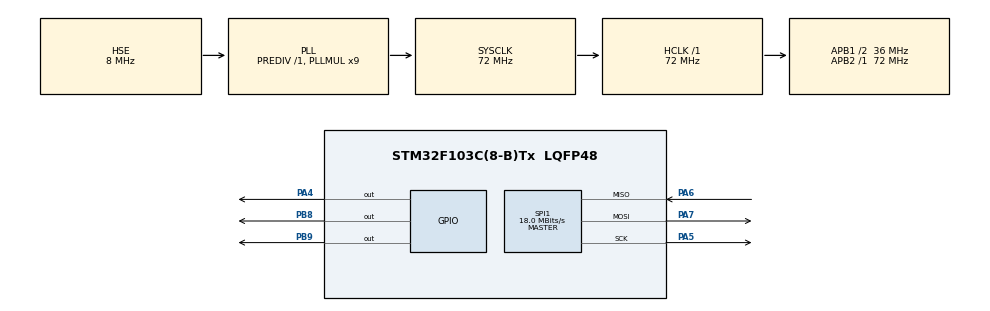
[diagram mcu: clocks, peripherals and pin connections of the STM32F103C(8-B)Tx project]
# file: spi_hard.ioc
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Mcu.Family=STM32F1
Mcu.Name=STM32F103C(8-B)Tx
Mcu.Package=LQFP48
NVIC.PriorityGroup=NVIC_PRIORITYGROUP_4
PA13.Mode=Serial_Wire
PA13.Signal=SYS_JTMS-SWDIO
PA14.Mode=Serial_Wire
PA14.Signal=SYS_JTCK-SWCLK
PA4.GPIO_PuPd=GPIO_PULLUP
PA4.PinState=GPIO_PIN_SET
PA4.Signal=GPIO_Output
PA5.Mode=Full_Duplex_Master
PA5.Signal=SPI1_SCK
PA6.Mode=Full_Duplex_Master
PA6.Signal=SPI1_MISO
PA7.Mode=Full_Duplex_Master
PA7.Signal=SPI1_MOSI
PB8.GPIO_ModeDefaultOutputPP=GPIO_MODE_OUTPUT_OD
PB8.GPIO_PuPd=GPIO_NOPULL
PB8.Signal=GPIO_Output
PB9.GPIO_ModeDefaultOutputPP=GPIO_MODE_OUTPUT_OD
PB9.GPIO_PuPd=GPIO_NOPULL
PB9.Signal=GPIO_Output
PD0-OSC_IN.Mode=HSE-External-Oscillator
PD0-OSC_IN.Signal=RCC_OSC_IN
PD1-OSC_OUT.Mode=HSE-External-Oscillator
PD1-OSC_OUT.Signal=RCC_OSC_OUT
ProjectManager.HeapSize=0x200
ProjectManager.StackSize=0x400
ProjectManager.TargetToolchain=STM32CubeIDE
RCC.AHBFreq_Value=72000000
RCC.APB1CLKDivider=RCC_HCLK_DIV2
RCC.APB1Freq_Value=36000000
RCC.APB1TimFreq_Value=72000000
RCC.APB2Freq_Value=72000000
RCC.APB2TimFreq_Value=72000000
RCC.HCLKFreq_Value=72000000
RCC.PLLMUL=RCC_PLL_MUL9
RCC.PLLSourceVirtual=RCC_PLLSOURCE_HSE
RCC.SYSCLKFreq_VALUE=72000000
RCC.SYSCLKSource=RCC_SYSCLKSOURCE_PLLCLK
RCC.USBFreq_Value=72000000
SPI1.BaudRatePrescaler=SPI_BAUDRATEPRESCALER_4
SPI1.CalculateBaudRate=18.0 MBits/s
SPI1.Direction=SPI_DIRECTION_2LINES
SPI1.Mode=SPI_MODE_MASTER
SPI1.VirtualType=VM_MASTER
board=custom

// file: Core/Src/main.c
/* USER CODE BEGIN Header */
/**
  ******************************************************************************
  * @file           : main.c
  * @brief          : Main program body
  ******************************************************************************
  * @attention
  *
  * Copyright (c) 2026 STMicroelectronics.
  * All rights reserved.
  *
  * This software is licensed under terms that can be found in the LICENSE file
  * in the root directory of this software component.
  * If no LICENSE file comes with this software, it is provided AS-IS.
  *
  ******************************************************************************
  */
/* USER CODE END Header */
#include "main.h"
#include "spi.h"
#include "gpio.h"

/* USER CODE BEGIN Includes */
#include "W25Q64.h"
/* USER CODE END Includes */

/* USER CODE BEGIN PV */
uint8_t MID;
uint16_t DID;
uint8_t ArrayWrite[] = {0x01, 0x02, 0x03, 0x04};
uint8_t ArrayRead[4];
/* USER CODE END PV */

void SystemClock_Config(void);

int main(void)
{

  /* MCU Configuration--------------------------------------------------------*/

  /* Reset of all peripherals, Initializes the Flash interface and the Systick. */
  HAL_Init();

  /* Configure the system clock */
  SystemClock_Config();

  /* Initialize all configured peripherals */
  MX_GPIO_Init();
  MX_SPI1_Init();

  /* Infinite loop */
  /* USER CODE BEGIN WHILE */
	OLED_Init();
	W25Q64_Init();
	OLED_ShowString(1, 1, "MID:   DID:");
	OLED_ShowString(2, 1, "W:");
	OLED_ShowString(3, 1, "R:");

	W25Q64_ReadID(&MID, &DID);
	OLED_ShowHexNum(1, 6, MID, 2);
	OLED_ShowHexNum(1, 12, DID, 4);

	W25Q64_SectorErase(0x000000);
	W25Q64_PageProgram(0X000000, ArrayWrite, 4);
	W25Q64_ReadData(0x000000, ArrayRead, 4);

	OLED_ShowHexNum(2, 3, ArrayWrite[0], 2);
	OLED_ShowHexNum(2, 6, ArrayWrite[1], 2);
	OLED_ShowHexNum(2, 9, ArrayWrite[2], 2);
	OLED_ShowHexNum(2, 12, ArrayWrite[3], 2);

	OLED_ShowHexNum(3, 3, ArrayRead[0], 2);
	OLED_ShowHexNum(3, 6, ArrayRead[1], 2);
	OLED_ShowHexNum(3, 9, ArrayRead[2], 2);
	OLED_ShowHexNum(3, 12, ArrayRead[3], 2);

  while (1)
  {
    /* USER CODE END WHILE */

  }
}

void SystemClock_Config(void)
{
  RCC_OscInitTypeDef RCC_OscInitStruct = {0};
  RCC_ClkInitTypeDef RCC_ClkInitStruct = {0};

  /** Initializes the RCC Oscillators according to the specified parameters
  * in the RCC_OscInitTypeDef structure.
  */
  RCC_OscInitStruct.OscillatorType = RCC_OSCILLATORTYPE_HSE;
  RCC_OscInitStruct.HSEState = RCC_HSE_ON;
  RCC_OscInitStruct.HSEPredivValue = RCC_HSE_PREDIV_DIV1;
  RCC_OscInitStruct.HSIState = RCC_HSI_ON;
  RCC_OscInitStruct.PLL.PLLState = RCC_PLL_ON;
  RCC_OscInitStruct.PLL.PLLSource = RCC_PLLSOURCE_HSE;
  RCC_OscInitStruct.PLL.PLLMUL = RCC_PLL_MUL9;
  if (HAL_RCC_OscConfig(&RCC_OscInitStruct) != HAL_OK)
  {
    Error_Handler();
  }

  /** Initializes the CPU, AHB and APB buses clocks
  */
  RCC_ClkInitStruct.ClockType = RCC_CLOCKTYPE_HCLK|RCC_CLOCKTYPE_SYSCLK
                              |RCC_CLOCKTYPE_PCLK1|RCC_CLOCKTYPE_PCLK2;
  RCC_ClkInitStruct.SYSCLKSource = RCC_SYSCLKSOURCE_PLLCLK;
  RCC_ClkInitStruct.AHBCLKDivider = RCC_SYSCLK_DIV1;
  RCC_ClkInitStruct.APB1CLKDivider = RCC_HCLK_DIV2;
  RCC_ClkInitStruct.APB2CLKDivider = RCC_HCLK_DIV1;

  if (HAL_RCC_ClockConfig(&RCC_ClkInitStruct, FLASH_LATENCY_2) != HAL_OK)
  {
    Error_Handler();
  }
}

void Error_Handler(void)
{
  __disable_irq();
  while (1)
  {
  }
}
